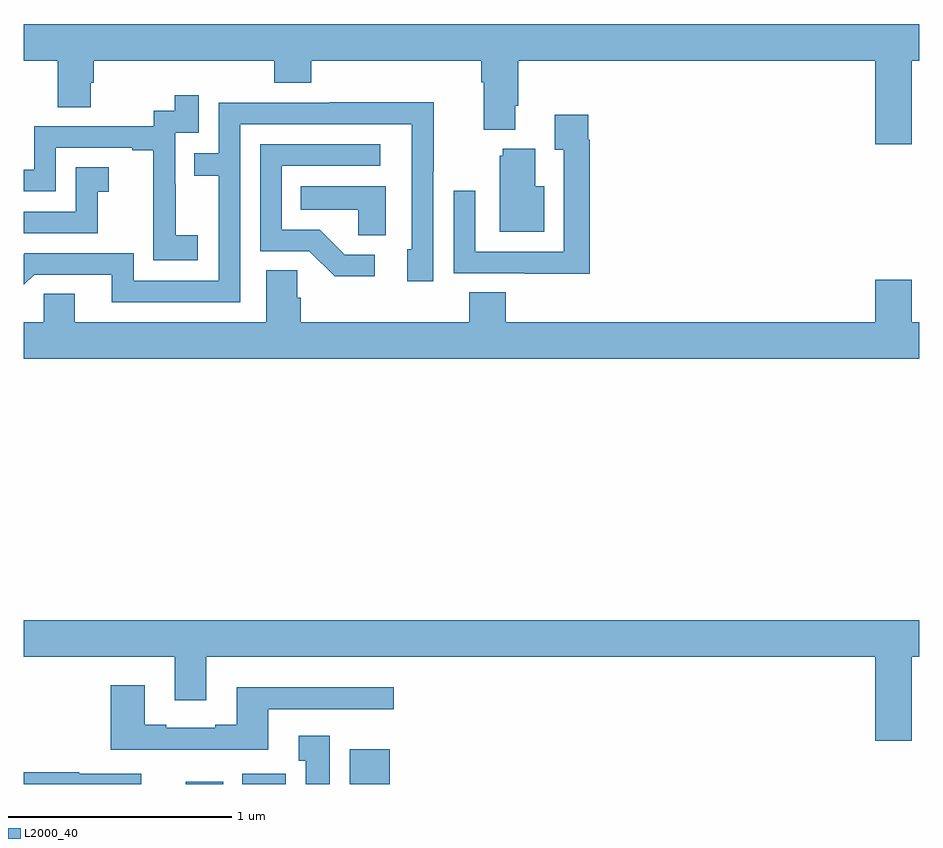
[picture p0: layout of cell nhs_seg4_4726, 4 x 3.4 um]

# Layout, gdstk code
import gdstk
lib = gdstk.Library(unit=1e-6, precision=1e-09)
def R(c, l, rs):  # rectangles x0, y0, x1, y1
    for r in rs: c.add(gdstk.rectangle(r[:2], r[2:], *l))
def P(c, l, *ps):  # polygons
    for p in ps: c.add(gdstk.Polygon(p, *l))
L2000_40 = (2000, 40)

nhs_seg4_4726 = lib.new_cell('nhs_seg4_4726')
R(nhs_seg4_4726, L2000_40, [(365.723,814.9,365.89,814.909), (365.975,814.9,366.171,814.945), (366.455,814.9,366.634,815.056)])
P(nhs_seg4_4726, L2000_40, [(368.968,818.132),(369,818.132),(369,818.296),(365,818.296),(365,818.132),(365.152,818.132),(365.152,817.924),(365.299,817.924),(365.299,818.034),(365.312,818.034),(365.312,818.132),(366.119,818.132),(366.119,818.033),(366.284,818.033),(366.284,818.132),(367.043,818.132),(367.043,818.036),(367.055,818.036),(367.055,817.823),(367.195,817.823),(367.195,817.93),(367.208,817.93),(367.208,818.132),(368.804,818.132),(368.804,817.758),(368.968,817.758)],
  [(365.776,817.351),(365.678,817.351),(365.678,817.58),(365.676,817.58),(365.676,817.809),(365.781,817.809),(365.781,817.978),(365.673,817.978),(365.673,817.908),(365.58,817.908),(365.58,817.839),(365.046,817.839),(365.046,817.644),(365,817.644),(365,817.548),(365.142,817.548),(365.142,817.743),(365.483,817.743),(365.483,817.731),(365.579,817.731),(365.579,817.447),(365.578,817.447),(365.578,817.241),(365.776,817.241)],
  [(365.967,817.848),(366.732,817.848),(366.732,817.29),(366.713,817.29),(366.713,817.146),(366.828,817.146),(366.828,817.639),(366.831,817.639),(366.831,817.946),(366.367,817.946),(366.367,817.944),(365.871,817.944),(365.871,817.719),(365.761,817.719),(365.761,817.618),(365.871,817.618),(365.871,817.149),(365.49,817.149),(365.49,817.272),(365.004,817.272),(365,817.268),(365,817.13),(365.046,817.176),(365.393,817.176),(365.393,817.053),(365.967,817.053)],
  [(367.529,817.778),(367.522,817.778),(367.522,817.891),(367.373,817.891),(367.373,817.735),(367.413,817.735),(367.413,817.278),(367.017,817.278),(367.017,817.552),(366.921,817.552),(366.921,817.182),(367.237,817.182),(367.237,817.181),(367.529,817.181)],
  [(366.568,817.266),(366.433,817.266),(366.322,817.377),(366.153,817.377),(366.153,817.662),(366.592,817.662),(366.592,817.758),(366.057,817.758),(366.057,817.281),(366.276,817.281),(366.389,817.169),(366.568,817.169)],
  [(367.324,817.57),(367.285,817.57),(367.285,817.738),(367.139,817.738),(367.139,817.707),(367.127,817.707),(367.127,817.367),(367.324,817.367)],
  [(365.331,817.547),(365.38,817.547),(365.38,817.657),(365.232,817.657),(365.232,817.458),(365,817.458),(365,817.362),(365.331,817.362)],
  [(366.616,817.57),(366.238,817.57),(366.238,817.466),(366.495,817.466),(366.495,817.351),(366.616,817.351)],
  [(369,816.964),(368.968,816.964),(368.968,817.153),(368.804,817.153),(368.804,816.964),(367.154,816.964),(367.154,817.097),(366.989,817.097),(366.989,816.964),(366.236,816.964),(366.236,817.073),(366.222,817.073),(366.222,817.196),(366.083,817.196),(366.083,816.964),(365.227,816.964),(365.227,817.091),(365.088,817.091),(365.088,816.964),(365,816.964),(365,816.8),(369,816.8)],
  [(368.968,815.468),(369,815.468),(369,815.632),(365,815.632),(365,815.468),(365.675,815.468),(365.675,815.274),(365.815,815.274),(365.815,815.468),(368.804,815.468),(368.804,815.094),(368.968,815.094)],
  [(366.091,815.235),(366.652,815.235),(366.652,815.332),(365.951,815.332),(365.951,815.164),(365.855,815.164),(365.855,815.151),(365.635,815.151),(365.635,815.164),(365.539,815.164),(365.539,815.341),(365.387,815.341),(365.387,815.054),(366.091,815.054)],
  [(366.367,815.116),(366.227,815.116),(366.227,815.003),(366.26,815.003),(366.26,814.9),(366.367,814.9)],
  [(365.524,814.945),(365.248,814.945),(365.248,814.952),(365,814.952),(365,814.9),(365.524,814.9)])

lib.write_gds('nhs_seg4_4726.gds')
